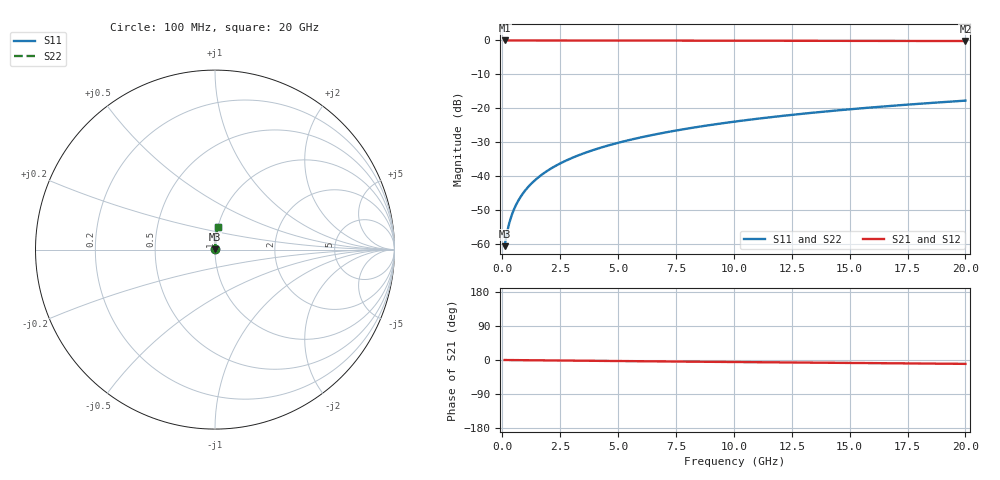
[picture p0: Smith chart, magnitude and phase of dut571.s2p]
! Touchstone file exported from HFSS 2024.1.0
!  File:  C:/UserFiles/LocalFiles/RDL_TSV_Batchsim/temp_RDL_bottom_571_1779690202.aedt
!  Generated:  02:25:57 PM May 25, 2026
!  Design:  RDL_bottom
!  Project:  temp_RDL_bottom_571_1779690202
!  Setup:  Setup1
!  Solution:  Sweep
! Variables:
!  dtsv = 10.80580581um
!  hbump = 3um
!  htsv = 93.5um
!  ldown = 103.69um
!  lrdl = 100um
!  p = 40
!  p1 = 48.96um
!  rhole = 1um
!  t = 450um
!  tdown = 4.28um
!  trdl = 3.915915916um
!  wdown = 17.24um
!  wrdl = 20um
# GHz S MA R 50.000000
! Terminal data exported
! Port[1] = RDL1_T1
! Port[2] = RDL1_T2
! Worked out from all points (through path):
!   200 points, 100 MHz to 20 GHz, reference 50 ohm
!   highest |S21| = -0.01 dB at 100 MHz (marker M1); lowest = -0.2 dB at 20 GHz (marker M2)
!   group delay of S21, straight-line fit = 1.41 ps
!   lowest |S11| = -60.7 dB at 100 MHz (marker M3), VSWR 1.00, Z = 50.1 + j0.0645 ohm
!   |S11| at or under -10 dB: start of sweep to end of sweep
!   |S22| runs from -60.7 to -17.8 dB; largest |S21 - S12| = 3.2e-15
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0.1  0.0009226 44.2  0.9993 -0.1  0.9993 -0.1  0.0009226 44.2
! Gamma 0 0 0 0
! Port Impedance 50 0 50 0
0.2  0.001446 61.8  0.9993 -0.1  0.9993 -0.1  0.001446 61.8
0.3  0.00202 69.5  0.9993 -0.2  0.9993 -0.2  0.00202 69.5
0.4  0.002605 73.8  0.9993 -0.2  0.9993 -0.2  0.002605 73.8
0.5  0.003195 76.6  0.9992 -0.3  0.9992 -0.3  0.003195 76.6
0.6  0.003789 78.6  0.9992 -0.3  0.9992 -0.3  0.003789 78.6
0.8  0.004985 81.2  0.9992 -0.5  0.9992 -0.5  0.004985 81.2
1.1  0.006792 83.4  0.9991 -0.6  0.9991 -0.6  0.006792 83.4
1.5  0.009218 85.1  0.9989 -0.8  0.9989 -0.8  0.009218 85.1
1.8  0.01105 85.9  0.9988 -1.0  0.9988 -1.0  0.01105 85.9
2.1  0.01288 86.4  0.9987 -1.2  0.9987 -1.2  0.01288 86.4
2.7  0.01656 87.1  0.9983 -1.5  0.9983 -1.5  0.01656 87.1
3.5  0.0215 87.6  0.9978 -1.9  0.9978 -1.9  0.0215 87.6
4.2  0.02586 87.9  0.9972 -2.3  0.9972 -2.3  0.02586 87.9
5  0.03089 88.0  0.9965 -2.8  0.9965 -2.8  0.03089 88.0
5.9  0.03659 88.0  0.9956 -3.2  0.9956 -3.2  0.03659 88.0
6.8  0.04235 88.0  0.9947 -3.7  0.9947 -3.7  0.04235 88.0
8.3  0.05207 87.6  0.9931 -4.5  0.9931 -4.5  0.05207 87.6
10.1  0.06389 87.1  0.9912 -5.4  0.9912 -5.4  0.06389 87.1
13.4  0.08577 85.6  0.9876 -7.0  0.9876 -7.0  0.08577 85.6
16.7  0.1077 84.0  0.984 -8.6  0.984 -8.6  0.1077 84.0
20  0.1294 82.2  0.9802 -10.2  0.9802 -10.2  0.1295 82.2
